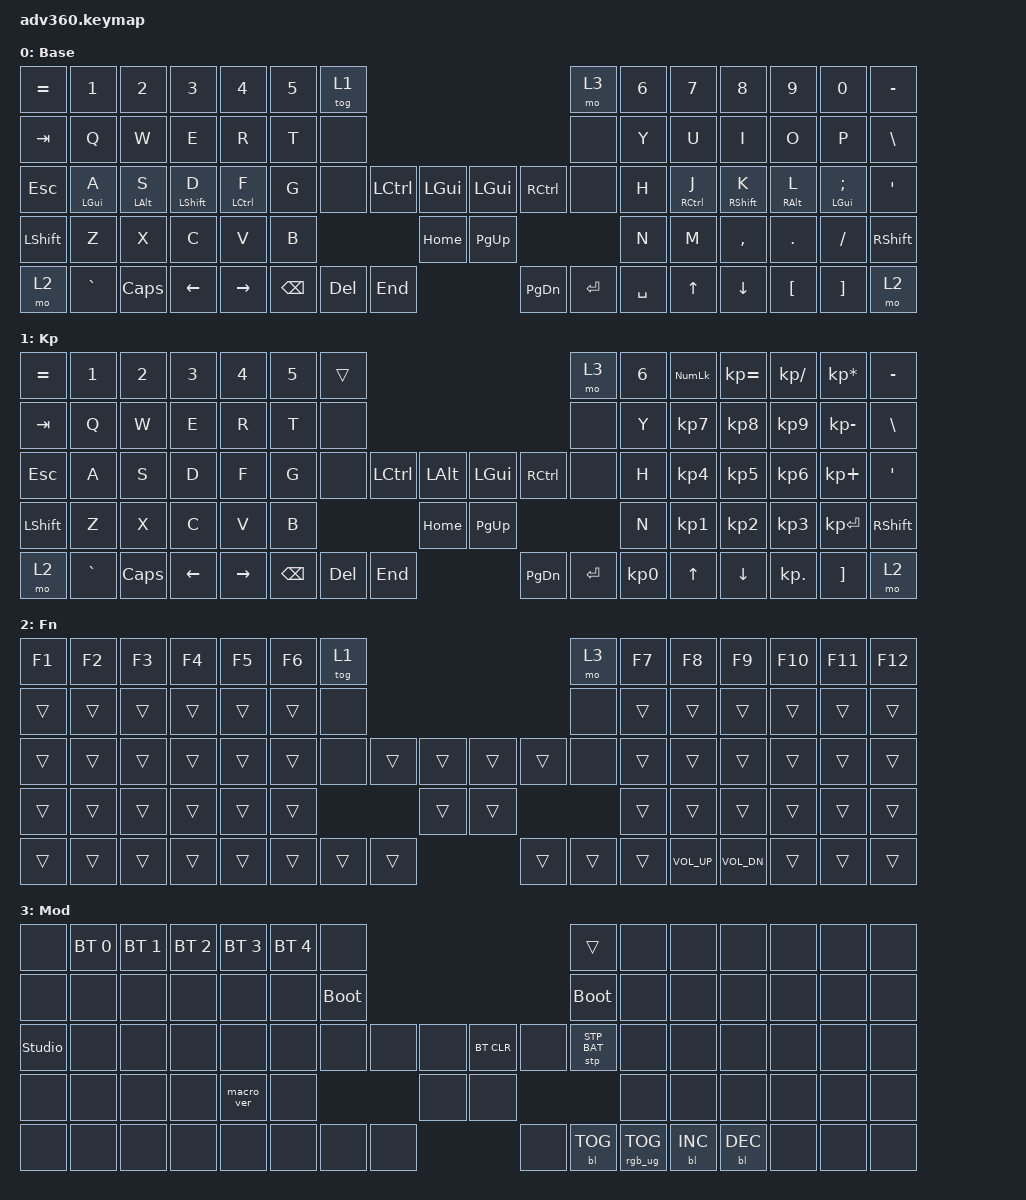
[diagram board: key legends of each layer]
#include <behaviors.dtsi>
#include <dt-bindings/zmk/keys.h>
#include <dt-bindings/zmk/bt.h>
#include <dt-bindings/zmk/rgb.h>
#include <dt-bindings/zmk/stp.h>
#include <dt-bindings/zmk/backlight.h>
#include <dt-bindings/zmk/pointing.h>

/ {
    behaviors {
      #include "macros.dtsi"
      #include "version.dtsi"

      hm: homerow_mods {
          compatible = "zmk,behavior-hold-tap";
          label = "HOMEROW_MODS";
          #binding-cells = <2>;
          tapping-term-ms = <200>;
          quick_tap_ms = <175>;
          flavor = "tap-preferred";
          bindings = <&kp>, <&kp>;
      };
    };

  // Home row mods
  #define _HM_A &hm LGUI A
  #define _HM_S &hm LALT S
  #define _HM_D &hm LSHFT D
  #define _HM_F &hm LCTRL F
  #define _HM_J &hm RCTRL J
  #define _HM_K &hm RSHFT K
  #define _HM_L &hm RALT L
  #define _HM_SEMI &hm LGUI SEMI

  keymap {
    compatible = "zmk,keymap";

    default_layer {
      display-name = "Base";
      bindings = <
        &kp EQUAL &kp N1    &kp N2   &kp N3   &kp N4    &kp N5 &tog 1                                                           &mo 3 &kp N6 &kp N7 &kp N8    &kp N9   &kp N0   &kp MINUS
        &kp TAB   &kp Q     &kp W    &kp E    &kp R     &kp T  &none                                                            &none &kp Y  &kp U  &kp I     &kp O    &kp P    &kp BSLH
        &kp ESC   _HM_A     _HM_S    _HM_D    _HM_F     &kp G  &none           &kp LCTRL &kp LGUI &kp LGUI  &kp RCTRL           &none &kp H  _HM_J  _HM_K     _HM_L    _HM_SEMI &kp SQT
        &kp LSHFT &kp Z     &kp X    &kp C    &kp V     &kp B                            &kp HOME &kp PG_UP                           &kp N  &kp M  &kp COMMA &kp DOT  &kp FSLH &kp RSHFT
        &mo 2     &kp GRAVE &kp CAPS &kp LEFT &kp RIGHT               &kp BSPC &kp DEL   &kp END  &kp PG_DN &kp ENTER &kp SPACE              &kp UP &kp DOWN  &kp LBKT &kp RBKT &mo 2
      >;
    };
    keypad {
      display-name = "Kp";
      bindings = <
        &kp EQUAL &kp N1    &kp N2   &kp N3   &kp N4     &kp N5 &trans                                                           &mo 3 &kp N6 &kp KP_NUM &kp KP_EQUAL &kp KP_DIVIDE &kp KP_MULTIPLY &kp MINUS
        &kp TAB   &kp Q     &kp W    &kp E    &kp R      &kp T  &none                                                            &none &kp Y  &kp KP_N7  &kp KP_N8    &kp KP_N9     &kp KP_MINUS    &kp BSLH
        &kp ESC   &kp A     &kp S    &kp D    &kp F      &kp G  &none           &kp LCTRL &kp LALT &kp LGUI  &kp RCTRL           &none &kp H  &kp KP_N4  &kp KP_N5    &kp KP_N6     &kp KP_PLUS     &kp SQT
        &kp LSHFT &kp Z     &kp X    &kp C    &kp V      &kp B                            &kp HOME &kp PG_UP                           &kp N  &kp KP_N1  &kp KP_N2    &kp KP_N3     &kp KP_ENTER    &kp RSHFT
        &mo 2     &kp GRAVE &kp CAPS &kp LEFT &kp RIGHT                &kp BSPC &kp DEL   &kp END  &kp PG_DN &kp ENTER &kp KP_N0              &kp UP     &kp DOWN     &kp KP_DOT    &kp RBKT        &mo 2
      >;
    };
    fn {
      display-name = "Fn";
      bindings = <
        &kp F1 &kp F2 &kp F3 &kp F4 &kp F5 &kp F6 &tog 1                                           &mo 3 &kp F7 &kp F8       &kp F9       &kp F10 &kp F11 &kp F12
        &trans &trans &trans &trans &trans &trans  &none                                           &none &trans &trans       &trans       &trans  &trans  &trans
        &trans &trans &trans &trans &trans &trans  &none        &trans &trans &trans &trans        &none &trans &trans       &trans       &trans  &trans  &trans
        &trans &trans &trans &trans &trans &trans                      &trans &trans                     &trans &trans       &trans       &trans  &trans  &trans
        &trans &trans &trans &trans &trans               &trans &trans &trans &trans &trans &trans              &kp C_VOL_UP &kp C_VOL_DN &trans  &trans  &trans
      >;
    };
    mod {
      display-name = "Mod";
      bindings = <
        &none &bt BT_SEL 0 &bt BT_SEL 1 &bt BT_SEL 2 &bt BT_SEL 3 &bt BT_SEL 4 &none                                                                     &trans                 &none        &none        &none        &none &none &none
        &none &none        &none        &none        &none        &none        &bootloader                                                               &bootloader            &none        &none        &none        &none &none &none
        &studio_unlock &none        &none        &none        &none        &none        &none                   &none &none &bt BT_CLR &none                      &stp STP_BAT &none        &none        &none        &none &none &none
        &none &none        &none        &none        &macro_ver   &none                                      &none &none                                                        &none        &none        &none        &none &none &none
        &none &none        &none        &none        &none                                       &none &none &none &none      &bl BL_TOG &rgb_ug RGB_TOG                                     &bl BL_INC   &bl BL_DEC   &none &none &none
      >;
    };
    extra1 { 
      display-name = "Red";    
      status = "reserved";
    };

    extra2 { 
      display-name = "Purple";    
      status = "reserved";
    };

    extra3 { 
      display-name = "Cyan";    
      status = "reserved";
    };

    extra4 { 
      display-name = "Yellow";    
      status = "reserved";
    };
  };
};
